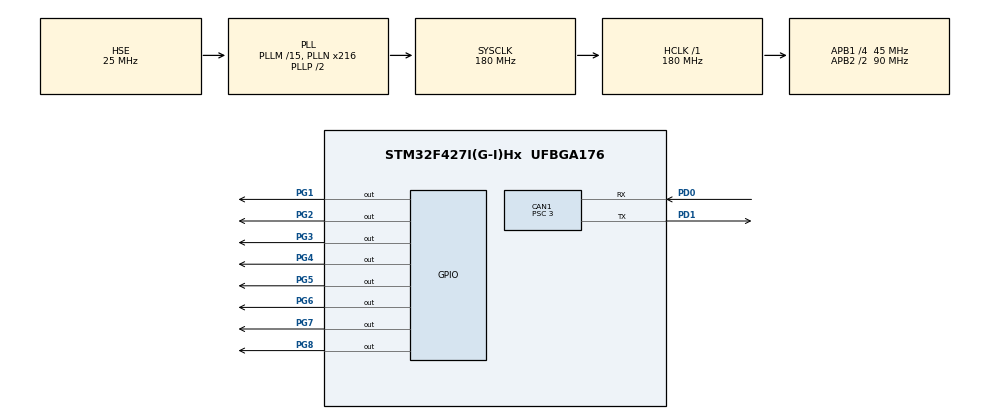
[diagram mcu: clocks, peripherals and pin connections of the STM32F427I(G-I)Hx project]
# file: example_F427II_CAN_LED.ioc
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CAN1.BS1=CAN_BS1_10TQ
CAN1.BS2=CAN_BS2_4TQ
CAN1.CalculateBaudRate=1000000
CAN1.CalculateTimeBit=1000
CAN1.CalculateTimeQuantum=66.66666666666666
CAN1.Mode=CAN_MODE_SILENT_LOOPBACK
CAN1.Prescaler=3
Mcu.Family=STM32F4
Mcu.Name=STM32F427I(G-I)Hx
Mcu.Package=UFBGA176
NVIC.CAN1_RX0_IRQn=true\:0\:0\:false\:false\:true\:true\:true\:true
NVIC.CAN1_RX1_IRQn=true\:0\:0\:false\:false\:true\:true\:true\:true
NVIC.PriorityGroup=NVIC_PRIORITYGROUP_4
PA13.Mode=Serial_Wire
PA13.Signal=SYS_JTMS-SWDIO
PA14.Mode=Serial_Wire
PA14.Signal=SYS_JTCK-SWCLK
PD0.Mode=CAN_Activate
PD0.Signal=CAN1_RX
PD1.Mode=CAN_Activate
PD1.Signal=CAN1_TX
PG1.PinState=GPIO_PIN_SET
PG1.Signal=GPIO_Output
PG2.PinState=GPIO_PIN_SET
PG2.Signal=GPIO_Output
PG3.PinState=GPIO_PIN_SET
PG3.Signal=GPIO_Output
PG4.PinState=GPIO_PIN_SET
PG4.Signal=GPIO_Output
PG5.PinState=GPIO_PIN_SET
PG5.Signal=GPIO_Output
PG6.PinState=GPIO_PIN_SET
PG6.Signal=GPIO_Output
PG7.PinState=GPIO_PIN_SET
PG7.Signal=GPIO_Output
PG8.PinState=GPIO_PIN_SET
PG8.Signal=GPIO_Output
PH0/OSC_IN.Mode=HSE-External-Oscillator
PH0/OSC_IN.Signal=RCC_OSC_IN
PH1/OSC_OUT.Mode=HSE-External-Oscillator
PH1/OSC_OUT.Signal=RCC_OSC_OUT
ProjectManager.HeapSize=0x200
ProjectManager.StackSize=0x400
ProjectManager.TargetToolchain=CMake
RCC.48MHZClocksFreq_Value=90000000
RCC.AHBFreq_Value=180000000
RCC.APB1CLKDivider=RCC_HCLK_DIV4
RCC.APB1Freq_Value=45000000
RCC.APB1TimFreq_Value=90000000
RCC.APB2CLKDivider=RCC_HCLK_DIV2
RCC.APB2Freq_Value=90000000
RCC.APB2TimFreq_Value=180000000
RCC.CortexFreq_Value=180000000
RCC.HCLKFreq_Value=180000000
RCC.HSE_VALUE=25000000
RCC.HSI_VALUE=16000000
RCC.LSE_VALUE=32768
RCC.PLLM=15
RCC.PLLN=216
RCC.PLLSourceVirtual=RCC_PLLSOURCE_HSE
RCC.SYSCLKFreq_VALUE=180000000
RCC.SYSCLKSource=RCC_SYSCLKSOURCE_PLLCLK
RCC.VCOOutputFreq_Value=360000000
board=custom

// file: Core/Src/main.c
/* USER CODE BEGIN Header */
/**
  ******************************************************************************
  * @file           : main.c
  * @brief          : Main program body
  ******************************************************************************
  * @attention
  *
  * Copyright (c) 2026 STMicroelectronics.
  * All rights reserved.
  *
  * This software is licensed under terms that can be found in the LICENSE file
  * in the root directory of this software component.
  * If no LICENSE file comes with this software, it is provided AS-IS.
  *
  ******************************************************************************
  */
/* USER CODE END Header */
#include "main.h"
#include "can.h"
#include "gpio.h"

/* USER CODE BEGIN PM */
// 滤波器编号
#define CAN_FILTER(x) ((x) << 3)

// 接收队列 FIFO
#define CAN_FIFO_0 (0 << 2)
#define CAN_FIFO_1 (1 << 2)

// 标准帧或拓展帧
#define CAN_STDID (0 << 1)
#define CAN_EXTID (1 << 1)

// 数据帧或遥控帧
#define CAN_DATA_TYPE (0 << 0)
#define CAN_REMOTE_TYPE (1 << 0)

/* USER CODE END PM */

void SystemClock_Config(void);

/* USER CODE BEGIN 0 */

/**
 * @brief 初始化 CAN 总线
 *
 * @param hcan CAN 编号
 *
 */
void CAN_Init(CAN_HandleTypeDef *hcan)
{
  HAL_CAN_Start(hcan); // 开启 CAN 外设
  __HAL_CAN_ENABLE_IT(hcan, CAN_IT_RX_FIFO0_MSG_PENDING);
  __HAL_CAN_ENABLE_IT(hcan, CAN_IT_RX_FIFO1_MSG_PENDING);
}

/**
 * @brief 配置 CAN 的滤波器
 *
 * @param hcan CAN编号
 * @param Object_Para 编号[3:] | FIFOx[2:2] | ID类型[1:1] | 帧类型[0:0]
 * @param ID CAN ID
 * @param Mask_ID 掩码
 */
void CAN_Filter_Mask_Config(CAN_HandleTypeDef *hcan, uint8_t Object_Para, uint32_t ID, uint32_t Mask_ID)
{
  CAN_FilterTypeDef can_filter_init_structure;

  // 看第 0 位, 判断是数据帧还是遥控帧, 遥控帧不做处理
  if (Object_Para & 0x01)
  {
    return;
  }

  // 看第 1 位, 判断是标准帧还是拓展帧, 拓展帧不做处理
  if ((Object_Para & 0x02) >> 1)
  {
    return;
  }

  // CAN ID 配置, 标准帧的 ID 是 11bit, 按规定放在高 16位 中的[15:5] 位
  // CAN ID 放在高 16 位的[15:5]
  can_filter_init_structure.FilterIdHigh = (ID & 0x7FF) << 5;
  // 低 16位保持 0
  can_filter_init_structure.FilterIdLow = 0x0000;
  // MASK 放在高 16 位的[15:5]
  can_filter_init_structure.FilterMaskIdHigh = (Mask_ID & 0x7FF) << 5;
  // 低 16 位保持为 0
  can_filter_init_structure.FilterMaskIdLow = 0x0000;

  // 滤波器配置
  // 滤波器编号
  can_filter_init_structure.FilterBank = (Object_Para >> 3) & 0x1F;
  // 滤波器模式, 设置为 ID 掩码模式
  can_filter_init_structure.FilterMode = CAN_FILTERMODE_IDMASK;
  // 32 位滤波器
  can_filter_init_structure.FilterScale = CAN_FILTERSCALE_32BIT;
  // 最后需要使能滤波器
  can_filter_init_structure.FilterActivation = ENABLE;

  // 从机模式配置
  // 分配 CAN1, CAN2各 14个滤波器
  can_filter_init_structure.SlaveStartFilterBank = 14;

  // 绑定接收队列 FIFO
  can_filter_init_structure.FilterFIFOAssignment = (Object_Para >> 2) & 0x01;

  // 最后提交
  HAL_CAN_ConfigFilter(hcan, &can_filter_init_structure);
}

/**
 * @brief 发送数据帧
 *
 * @param hcan CAN 编号
 * @param ID CAN ID
 * @param Data  被发送的数据指针
 * @param Length 长度
 * @return uint8_t 执行状态
 */
uint8_t CAN_Send_Data(CAN_HandleTypeDef *hcan, uint16_t ID, uint8_t *Data, uint16_t Length)
{
  CAN_TxHeaderTypeDef tx_header;
  uint32_t used_mailbox;

  tx_header.StdId = ID;
  tx_header.ExtId = 0;
  tx_header.IDE = 0;
  tx_header.RTR = 0;
  tx_header.DLC = Length;

  return (HAL_CAN_AddTxMessage(hcan, &tx_header, Data, &used_mailbox));
}

/**
 * @brief LED控制
 * @param data 收到的数据
 */
void LED_Control(uint8_t data)
{
  for (int i = 0; i < 8; i++)
  {
    GPIO_PinState state = (data & (1 << i)) ? GPIO_PIN_RESET : GPIO_PIN_SET;
    HAL_GPIO_WritePin(GPIOG, (uint16_t)(GPIO_PIN_1 << i), state);
  }
}

/**
 * @brief HAL 库 CAN 接收 FIFO1中断
 * @param hcan CAN编号
 */
void HAL_CAN_RxFifo1MsgPendingCallback(CAN_HandleTypeDef *hcan)
{
  CAN_RxHeaderTypeDef header;
  uint8_t data;

  HAL_CAN_GetRxMessage(hcan, CAN_FILTER_FIFO1, &header, &data);
  LED_Control(data);
}
/* USER CODE END 0 */

int main(void)
{

  /* MCU Configuration--------------------------------------------------------*/

  /* Reset of all peripherals, Initializes the Flash interface and the Systick. */
  HAL_Init();

  /* Configure the system clock */
  SystemClock_Config();

  /* Initialize all configured peripherals */
  MX_GPIO_Init();
  MX_CAN1_Init();
  /* USER CODE BEGIN 2 */
  uint8_t Send_Data = 0;
  uint32_t cfg = CAN_FILTER(13) | CAN_FIFO_1 | CAN_STDID | CAN_DATA_TYPE;

  CAN_Init(&hcan1);
  CAN_Filter_Mask_Config(&hcan1, cfg, 0x114, 0x7ff);

  /* USER CODE END 2 */

  /* Infinite loop */
  /* USER CODE BEGIN WHILE */
  while (1)
  {
    Send_Data++;
    CAN_Send_Data(&hcan1, 0x114, &Send_Data, 1);

    HAL_Delay(250);
    /* USER CODE END WHILE */

  }
}

void SystemClock_Config(void)
{
  RCC_OscInitTypeDef RCC_OscInitStruct = {0};
  RCC_ClkInitTypeDef RCC_ClkInitStruct = {0};

  /** Configure the main internal regulator output voltage
  */
  __HAL_RCC_PWR_CLK_ENABLE();
  __HAL_PWR_VOLTAGESCALING_CONFIG(PWR_REGULATOR_VOLTAGE_SCALE1);

  /** Initializes the RCC Oscillators according to the specified parameters
  * in the RCC_OscInitTypeDef structure.
  */
  RCC_OscInitStruct.OscillatorType = RCC_OSCILLATORTYPE_HSE;
  RCC_OscInitStruct.HSEState = RCC_HSE_ON;
  RCC_OscInitStruct.PLL.PLLState = RCC_PLL_ON;
  RCC_OscInitStruct.PLL.PLLSource = RCC_PLLSOURCE_HSE;
  RCC_OscInitStruct.PLL.PLLM = 15;
  RCC_OscInitStruct.PLL.PLLN = 216;
  RCC_OscInitStruct.PLL.PLLP = RCC_PLLP_DIV2;
  RCC_OscInitStruct.PLL.PLLQ = 4;
  if (HAL_RCC_OscConfig(&RCC_OscInitStruct) != HAL_OK)
  {
    Error_Handler();
  }

  /** Activate the Over-Drive mode
  */
  if (HAL_PWREx_EnableOverDrive() != HAL_OK)
  {
    Error_Handler();
  }

  /** Initializes the CPU, AHB and APB buses clocks
  */
  RCC_ClkInitStruct.ClockType = RCC_CLOCKTYPE_HCLK|RCC_CLOCKTYPE_SYSCLK
                              |RCC_CLOCKTYPE_PCLK1|RCC_CLOCKTYPE_PCLK2;
  RCC_ClkInitStruct.SYSCLKSource = RCC_SYSCLKSOURCE_PLLCLK;
  RCC_ClkInitStruct.AHBCLKDivider = RCC_SYSCLK_DIV1;
  RCC_ClkInitStruct.APB1CLKDivider = RCC_HCLK_DIV4;
  RCC_ClkInitStruct.APB2CLKDivider = RCC_HCLK_DIV2;

  if (HAL_RCC_ClockConfig(&RCC_ClkInitStruct, FLASH_LATENCY_5) != HAL_OK)
  {
    Error_Handler();
  }
}

void Error_Handler(void)
{
  __disable_irq();
  while (1)
  {
  }
}
